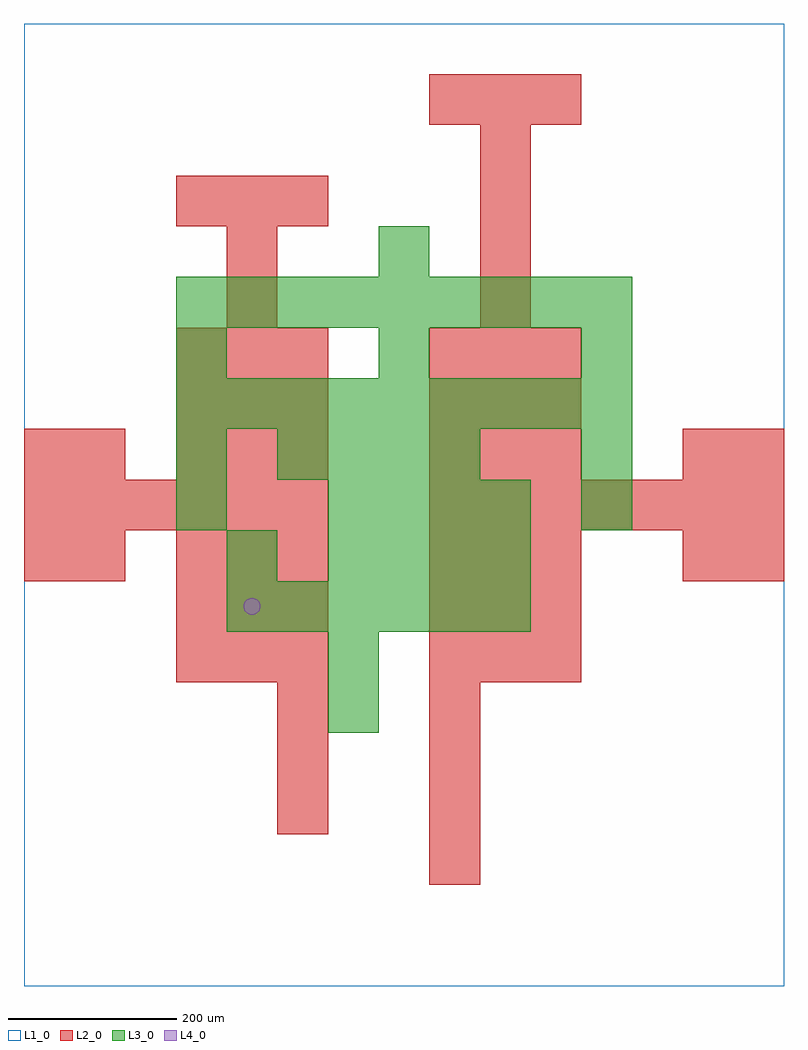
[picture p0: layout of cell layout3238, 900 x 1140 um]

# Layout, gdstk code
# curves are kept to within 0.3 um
import gdstk
lib = gdstk.Library(unit=1e-6, precision=1e-09)
def R(c, l, rs):  # rectangles x0, y0, x1, y1
    for r in rs: c.add(gdstk.rectangle(r[:2], r[2:], *l))
def A(c, l, x, y, w, h, nx, ny, dx, dy):  # array of equal rectangles
    R(c, l, [(x+i*dx, y+j*dy, x+i*dx+w, y+j*dy+h) for i in range(nx) for j in range(ny)])
def P(c, l, *ps):  # polygons
    for p in ps: c.add(gdstk.Polygon(p, *l))
L1_0 = (1, 0)
L2_0 = (2, 0)
L3_0 = (3, 0)
L4_0 = (4, 0)

layout3238 = lib.new_cell('layout3238')
R(layout3238, L1_0, [(0,0,900,1140)])
A(layout3238, L2_0, 480, 120, 60, 60, 1, 4, 0, 60)
A(layout3238, L2_0, 300, 180, 60, 60, 1, 3, 0, 60)
A(layout3238, L2_0, 180, 360, 60, 60, 3, 3, 60, 60)
A(layout3238, L2_0, 480, 360, 60, 60, 3, 3, 60, 60)
A(layout3238, L2_0, 0, 540, 60, 60, 6, 1, 60, 0)
A(layout3238, L2_0, 480, 540, 60, 60, 7, 1, 60, 0)
A(layout3238, L2_0, 180, 600, 60, 60, 3, 3, 60, 60)
A(layout3238, L2_0, 480, 600, 60, 60, 3, 3, 60, 60)
A(layout3238, L2_0, 540, 780, 60, 60, 1, 4, 0, 60)
A(layout3238, L2_0, 180, 900, 60, 60, 3, 1, 60, 0)
A(layout3238, L2_0, 480, 1020, 60, 60, 3, 1, 60, 0)
R(layout3238, L2_0, [(0,480,60,540), (60,480,120,540), (780,480,840,540), (840,480,900,540), (0,600,60,660), (60,600,120,660), (780,600,840,660), (840,600,900,660), (240,780,300,840), (240,840,300,900)])
A(layout3238, L3_0, 240, 420, 60, 60, 6, 1, 60, 0)
A(layout3238, L3_0, 360, 480, 60, 60, 4, 2, 60, 60)
A(layout3238, L3_0, 300, 600, 60, 60, 4, 1, 60, 0)
A(layout3238, L3_0, 180, 660, 60, 60, 9, 2, 60, 120)
A(layout3238, L3_0, 180, 720, 60, 60, 3, 1, 240, 0)
R(layout3238, L3_0, [(360,300,420,360), (360,360,420,420), (240,480,300,540), (180,540,240,600), (660,540,720,600), (180,600,240,660), (660,600,720,660), (420,840,480,900)])
P(layout3238, L4_0, [(280,450),(279.239,453.827),(277.071,457.071),(273.827,459.239),(270,460),(266.173,459.239),(262.929,457.071),(260.761,453.827),(260,450),(260.761,446.173),(262.929,442.929),(266.173,440.761),(270,440),(273.827,440.761),(277.071,442.929),(279.239,446.173)])

lib.write_gds('layout3238.gds')
